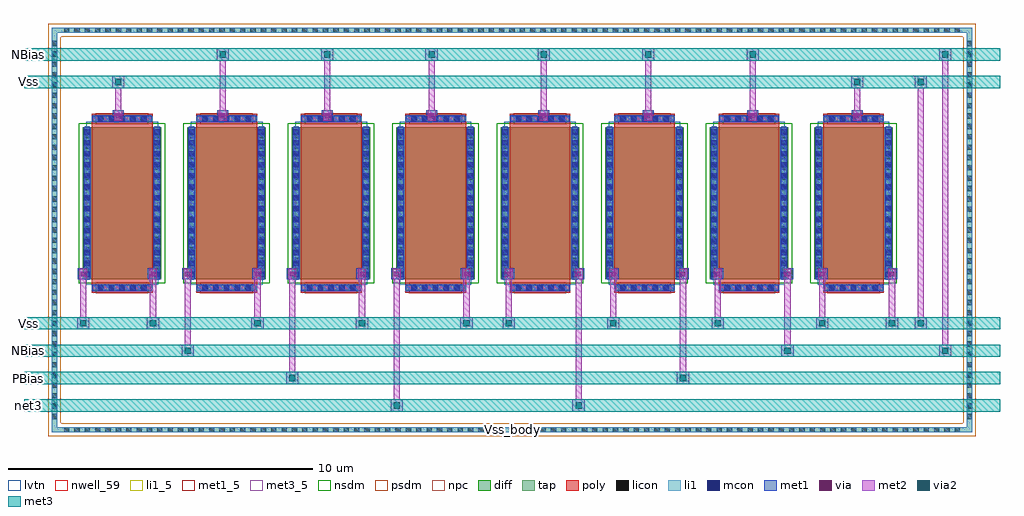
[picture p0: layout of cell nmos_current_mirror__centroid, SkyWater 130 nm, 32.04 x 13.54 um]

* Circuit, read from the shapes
.subckt nmos_current_mirror__centroid NBias PBias Vss Vss_body net3
XM1 Vss Vss Vss Vss_body sky130_fd_pr__nfet_01v8_lvt w=5 l=2 m=2
XM2 Vss NBias NBias Vss_body sky130_fd_pr__nfet_01v8_lvt w=5 l=2 m=2
XM3 Vss NBias PBias Vss_body sky130_fd_pr__nfet_01v8_lvt w=5 l=2 m=2
XM4 Vss NBias net3 Vss_body sky130_fd_pr__nfet_01v8_lvt w=5 l=2 m=2
.ends

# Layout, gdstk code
from math import pi, radians
import gdstk
lib = gdstk.Library(unit=1e-6, precision=1e-09)
def R(c, l, rs):  # rectangles x0, y0, x1, y1
    for r in rs: c.add(gdstk.rectangle(r[:2], r[2:], *l))
def A(c, l, x, y, w, h, nx, ny, dx, dy):  # array of equal rectangles
    R(c, l, [(x+i*dx, y+j*dy, x+i*dx+w, y+j*dy+h) for i in range(nx) for j in range(ny)])
nwell_59 = (64, 59)
diff = (65, 20)
tap = (65, 44)
poly = (66, 20)
licon = (66, 44)
li1_5 = (67, 5)
li1 = (67, 20)
mcon = (67, 44)
met1_5 = (68, 5)
met1 = (68, 20)
via = (68, 44)
met2 = (69, 20)
via2 = (69, 44)
met3_5 = (70, 5)
met3 = (70, 20)
nsdm = (93, 44)
psdm = (94, 20)
npc = (95, 20)
lvtn = (125, 44)

sky130_fd_pr__nfet_01v8_ = lib.new_cell('sky130_fd_pr__nfet_01v8_lvt_ZCNT58')
R(sky130_fd_pr__nfet_01v8_, diff, [(-1.29,-2.5,1.29,2.5)])
R(sky130_fd_pr__nfet_01v8_, poly, [(-1,-2.94,1,2.94)])
A(sky130_fd_pr__nfet_01v8_, licon, -0.765, -2.86, 0.17, 0.17, 5, 2, 0.34, 5.55)
A(sky130_fd_pr__nfet_01v8_, licon, -1.23, -2.295, 0.17, 0.17, 1, 14, 0, 0.34)
A(sky130_fd_pr__nfet_01v8_, licon, 1.06, -2.295, 0.17, 0.17, 1, 14, 0, 0.34)
R(sky130_fd_pr__nfet_01v8_, li1, [(-1,-2.86,1,-2.69), (-1.23,-2.52,-1.06,2.52), (1.06,-2.52,1.23,2.52), (-1,2.69,1,2.86)])
A(sky130_fd_pr__nfet_01v8_, mcon, -0.805, -2.86, 0.17, 0.17, 5, 2, 0.36, 5.55)
A(sky130_fd_pr__nfet_01v8_, mcon, -1.23, -2.425, 0.17, 0.17, 1, 14, 0, 0.36)
A(sky130_fd_pr__nfet_01v8_, mcon, 1.06, -2.425, 0.17, 0.17, 1, 14, 0, 0.36)
R(sky130_fd_pr__nfet_01v8_, met1, [(-0.98,-2.89,0.98,-2.66), (-1.26,-2.5,-1.03,2.5), (1.03,-2.5,1.26,2.5), (-0.98,2.66,0.98,2.89)])
R(sky130_fd_pr__nfet_01v8_, nsdm, [(-1.415,-2.625,1.415,2.625)])
R(sky130_fd_pr__nfet_01v8_, npc, [(-0.865,-2.96,0.865,-2.59), (-0.865,2.59,0.865,2.96)])
R(sky130_fd_pr__nfet_01v8_, lvtn, [(-1.18,-2.68,1.18,2.68)])
sky130_fd_pr__nfet_01v8_.add(gdstk.Label('D', (-1.145,0), layer=67, texttype=5))
sky130_fd_pr__nfet_01v8_.add(gdstk.Label('S', (1.145,0), layer=67, texttype=5))
sky130_fd_pr__nfet_01v8_.add(gdstk.Label('G', (0,2.775), layer=67, texttype=5))

nfet_01v8_lvt_w5_l2_m2__ = lib.new_cell('nfet_01v8_lvt_W5_L2_m2__nf1_gboth_sdfull_ng')
R(nfet_01v8_lvt_w5_l2_m2__, nwell_59, [(0.05,2.89,0.15,2.99)])
R(nfet_01v8_lvt_w5_l2_m2__, met1_5, [(0.03,2.94,0.26,3.14), (2.32,2.94,2.55,3.14), (0.31,5.6,2.27,5.83)])
R(nfet_01v8_lvt_w5_l2_m2__, met1, [(0.03,2.94,0.26,3.14), (2.32,2.94,2.55,3.14), (0.31,5.6,2.27,5.83)])
nfet_01v8_lvt_w5_l2_m2__.add(gdstk.Reference(sky130_fd_pr__nfet_01v8_, (1.29,2.94)))
nfet_01v8_lvt_w5_l2_m2__.add(gdstk.Label('D', (0.145,3.04), layer=68, texttype=5))
nfet_01v8_lvt_w5_l2_m2__.add(gdstk.Label('S', (2.435,3.04), layer=68, texttype=5))
nfet_01v8_lvt_w5_l2_m2__.add(gdstk.Label('G', (1.29,5.715), layer=68, texttype=5))
nfet_01v8_lvt_w5_l2_m2__.add(gdstk.Label('B', (0.1,2.94), layer=64, texttype=59))

nmos_current_mirror__cen = lib.new_cell('nmos_current_mirror__centroid')
R(nmos_current_mirror__cen, tap, [(-0.885,-4.585,29.325,-4.415), (-0.885,-4.415,-0.715,8.535), (29.155,-4.415,29.325,8.535), (-0.885,8.535,29.325,8.705)])
A(nmos_current_mirror__cen, licon, -0.485, -4.585, 0.17, 0.17, 87, 2, 0.34, 13.12)
A(nmos_current_mirror__cen, licon, -0.885, -4.145, 0.17, 0.17, 1, 37, 0, 0.34)
A(nmos_current_mirror__cen, licon, 29.155, -4.145, 0.17, 0.17, 1, 37, 0, 0.34)
R(nmos_current_mirror__cen, li1_5, [(14.17,-4.55,14.27,-4.45)])
R(nmos_current_mirror__cen, li1, [(-0.885,-4.585,29.325,-4.415), (-0.885,-4.415,-0.715,8.535), (29.155,-4.415,29.325,8.535), (-0.885,8.535,29.325,8.705)])
A(nmos_current_mirror__cen, met1, 1.11, 5.63, 0.36, 0.36, 4, 1, 3.43, 0)
A(nmos_current_mirror__cen, met1, 15.08, 5.63, 0.36, 0.36, 4, 1, 3.43, 0)
R(nmos_current_mirror__cen, met1, [(-0.035,0.44,0.325,0.8), (2.255,0.44,2.615,0.8), (3.395,0.44,3.755,0.8), (5.685,0.44,6.045,0.8), (6.825,0.44,7.185,0.8), (9.115,0.44,9.475,0.8), (10.255,0.44,10.615,0.8), (12.545,0.44,12.905,0.8), (13.935,0.44,14.295,0.8), (16.225,0.44,16.585,0.8), (17.365,0.44,17.725,0.8), (19.655,0.44,20.015,0.8), (20.795,0.44,21.155,0.8), (23.085,0.44,23.445,0.8), (24.225,0.44,24.585,0.8), (26.515,0.44,26.875,0.8)])
A(nmos_current_mirror__cen, via, 1.215, 5.735, 0.15, 0.15, 4, 1, 3.43, 0)
A(nmos_current_mirror__cen, via, 15.185, 5.735, 0.15, 0.15, 4, 1, 3.43, 0)
R(nmos_current_mirror__cen, via, [(0.07,0.545,0.22,0.695), (2.36,0.545,2.51,0.695), (3.5,0.545,3.65,0.695), (5.79,0.545,5.94,0.695), (6.93,0.545,7.08,0.695), (9.22,0.545,9.37,0.695), (10.36,0.545,10.51,0.695), (12.65,0.545,12.8,0.695), (14.04,0.545,14.19,0.695), (16.33,0.545,16.48,0.695), (17.47,0.545,17.62,0.695), (19.76,0.545,19.91,0.695), (20.9,0.545,21.05,0.695), (23.19,0.545,23.34,0.695), (24.33,0.545,24.48,0.695), (26.62,0.545,26.77,0.695)])
A(nmos_current_mirror__cen, met2, 2.235, -1.2, 0.4, 0.4, 4, 1, 3.43, 0)
A(nmos_current_mirror__cen, met2, 13.915, -1.2, 0.4, 0.4, 4, 1, 3.43, 0)
A(nmos_current_mirror__cen, met2, 2.335, -0.8, 0.2, 1.26, 4, 1, 3.43, 0)
A(nmos_current_mirror__cen, met2, 14.015, -0.8, 0.2, 1.26, 4, 1, 3.43, 0)
A(nmos_current_mirror__cen, met2, 1.16, 5.65, 0.26, 0.32, 4, 1, 3.43, 0)
A(nmos_current_mirror__cen, met2, 15.13, 5.65, 0.26, 0.32, 4, 1, 3.43, 0)
A(nmos_current_mirror__cen, met2, 4.62, 5.97, 0.2, 1.65, 3, 1, 3.43, 0)
A(nmos_current_mirror__cen, met2, 15.16, 5.97, 0.2, 1.65, 3, 1, 3.43, 0)
A(nmos_current_mirror__cen, met2, 4.52, 7.62, 0.4, 0.4, 3, 1, 3.43, 0)
A(nmos_current_mirror__cen, met2, 15.06, 7.62, 0.4, 0.4, 3, 1, 3.43, 0)
R(nmos_current_mirror__cen, met2, [(10.235,-3.9,10.635,-3.5), (16.205,-3.9,16.605,-3.5), (10.335,-3.5,10.535,0.46), (16.305,-3.5,16.505,0.46), (6.805,-3,7.205,-2.6), (19.635,-3,20.035,-2.6), (6.905,-2.6,7.105,0.46), (19.735,-2.6,19.935,0.46), (3.375,-2.1,3.775,-1.7), (23.065,-2.1,23.465,-1.7), (28.24,-2.1,28.64,-1.7), (3.475,-1.7,3.675,0.46), (23.165,-1.7,23.365,0.46), (28.34,-1.7,28.54,7.62), (-0.055,-1.2,0.345,-0.8), (26.495,-1.2,26.895,-0.8), (27.44,-1.2,27.84,-0.8), (0.045,-0.8,0.245,0.46), (26.595,-0.8,26.795,0.46), (27.54,-0.8,27.74,6.72), (0.015,0.46,0.275,0.78), (2.305,0.46,2.565,0.78), (3.445,0.46,3.705,0.78), (5.735,0.46,5.995,0.78), (6.875,0.46,7.135,0.78), (9.165,0.46,9.425,0.78), (10.305,0.46,10.565,0.78), (12.595,0.46,12.855,0.78), (13.985,0.46,14.245,0.78), (16.275,0.46,16.535,0.78), (17.415,0.46,17.675,0.78), (19.705,0.46,19.965,0.78), (20.845,0.46,21.105,0.78), (23.135,0.46,23.395,0.78), (24.275,0.46,24.535,0.78), (26.565,0.46,26.825,0.78), (1.19,5.97,1.39,6.72), (25.45,5.97,25.65,6.72), (1.09,6.72,1.49,7.12), (25.35,6.72,25.75,7.12), (27.44,6.72,27.84,7.12), (28.24,7.62,28.64,8.02)])
A(nmos_current_mirror__cen, via2, 2.335, -1.1, 0.2, 0.2, 4, 1, 3.43, 0)
A(nmos_current_mirror__cen, via2, 14.015, -1.1, 0.2, 0.2, 4, 1, 3.43, 0)
A(nmos_current_mirror__cen, via2, 4.62, 7.72, 0.2, 0.2, 3, 1, 3.43, 0)
A(nmos_current_mirror__cen, via2, 15.16, 7.72, 0.2, 0.2, 3, 1, 3.43, 0)
R(nmos_current_mirror__cen, via2, [(10.335,-3.8,10.535,-3.6), (16.305,-3.8,16.505,-3.6), (6.905,-2.9,7.105,-2.7), (19.735,-2.9,19.935,-2.7), (3.475,-2,3.675,-1.8), (23.165,-2,23.365,-1.8), (28.34,-2,28.54,-1.8), (0.045,-1.1,0.245,-0.9), (26.595,-1.1,26.795,-0.9), (27.54,-1.1,27.74,-0.9), (1.19,6.82,1.39,7.02), (25.45,6.82,25.65,7.02), (27.54,6.82,27.74,7.02), (28.34,7.72,28.54,7.92)])
A(nmos_current_mirror__cen, met3_5, -1.7, -3.75, 0.1, 0.1, 1, 4, 0, 0.9)
R(nmos_current_mirror__cen, met3_5, [(-1.7,6.87,-1.6,6.97), (-1.7,7.77,-1.6,7.87)])
A(nmos_current_mirror__cen, met3, -1.8, -3.9, 32.04, 0.4, 1, 4, 0, 0.9)
R(nmos_current_mirror__cen, met3, [(-1.8,6.72,30.24,7.12), (-1.8,7.62,30.24,8.02)])
R(nmos_current_mirror__cen, psdm, [(-1.01,-4.71,29.45,-4.29), (-1.01,-4.29,-0.59,8.41), (29.03,-4.29,29.45,8.41), (-1.01,8.41,29.45,8.83)])
nmos_current_mirror__cen.add(gdstk.Reference(nfet_01v8_lvt_w5_l2_m2__, (26.72,0), rotation=pi, x_reflection=True))
nmos_current_mirror__cen.add(gdstk.Reference(nfet_01v8_lvt_w5_l2_m2__, (23.29,0), rotation=pi, x_reflection=True))
nmos_current_mirror__cen.add(gdstk.Reference(nfet_01v8_lvt_w5_l2_m2__, (19.86,0), rotation=pi, x_reflection=True))
nmos_current_mirror__cen.add(gdstk.Reference(nfet_01v8_lvt_w5_l2_m2__, (16.43,0), rotation=pi, x_reflection=True))
nmos_current_mirror__cen.add(gdstk.Reference(nfet_01v8_lvt_w5_l2_m2__, (10.42,0)))
nmos_current_mirror__cen.add(gdstk.Reference(nfet_01v8_lvt_w5_l2_m2__, (6.99,0)))
nmos_current_mirror__cen.add(gdstk.Reference(nfet_01v8_lvt_w5_l2_m2__, (3.56,0)))
nmos_current_mirror__cen.add(gdstk.Reference(nfet_01v8_lvt_w5_l2_m2__, (0.13,0)))
nmos_current_mirror__cen.add(gdstk.Label('Vss', (-1.65,6.92), layer=70, texttype=5))
nmos_current_mirror__cen.add(gdstk.Label('NBias', (-1.65,7.82), layer=70, texttype=5))
nmos_current_mirror__cen.add(gdstk.Label('Vss', (-1.65,-1), layer=70, texttype=5))
nmos_current_mirror__cen.add(gdstk.Label('NBias', (-1.65,-1.9), layer=70, texttype=5))
nmos_current_mirror__cen.add(gdstk.Label('PBias', (-1.65,-2.8), layer=70, texttype=5))
nmos_current_mirror__cen.add(gdstk.Label('net3', (-1.65,-3.7), layer=70, texttype=5))
nmos_current_mirror__cen.add(gdstk.Label('Vss_body', (14.22,-4.5), layer=67, texttype=5))

lib.write_gds('nmos_current_mirror__centroid.gds')
